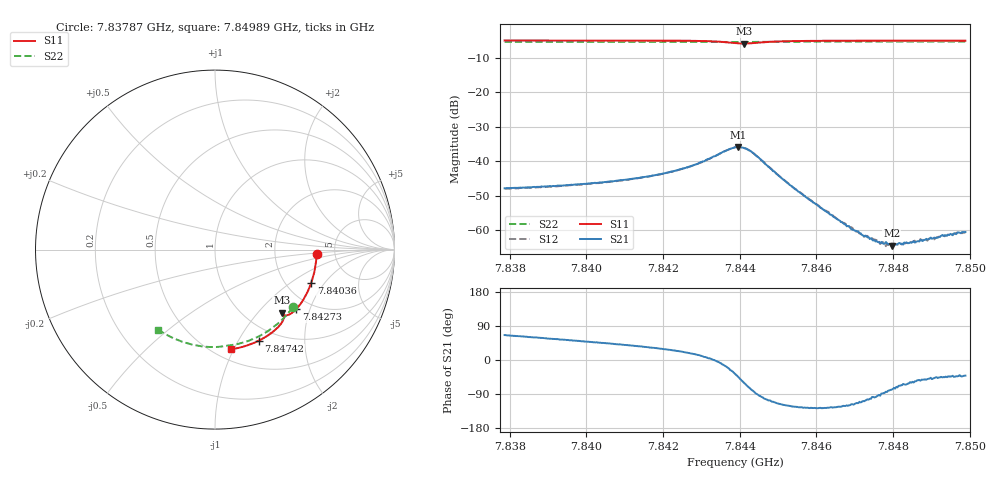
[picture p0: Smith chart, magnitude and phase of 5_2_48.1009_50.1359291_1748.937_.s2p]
#  HZ  S  RI  R  50.00
! Rohde & Schwarz Vector Network Analyzer
! Rohde-Schwarz,ZNB20-2Port,1311601062101988,3.16
! Created: UTC 12/23/2023, 3:35:05 AM
! freq[Hz]  re:S11  im:S11  re:S21  im:S21  re:S12  im:S12  re:S22  im:S22
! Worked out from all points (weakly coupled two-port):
!   401 points, 7.83787 GHz to 7.84989 GHz, reference 50 ohm
!   highest |S21| = -35.80 dB at 7.84397 GHz (marker M1); lowest = -64.5 dB at 7.84796 GHz (marker M2)
!   lowest |S11| = -5.8 dB at 7.84412 GHz (marker M3), VSWR 3.09, Z = 71.4 - j67.8 ohm
!   |S11| at or under -10 dB: nowhere
!   |S22| runs from -5.4 to -5.3 dB; largest |S21 - S12| = 0.00033
!   S11 on the Smith chart (normalised r, x): 7.83787 GHz: 3.60, -0.24; 7.84036 GHz: 2.71, -1.49; 7.84273 GHz: 1.67, -1.62; 7.84742 GHz: 0.83, -1.23; 7.84989 GHz: 0.60, -0.97
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7.837866e9  0.5664 -0.0231  0.00167 0.0037  0.00169 0.00366  0.4339 -0.3215
7.83988e9  0.5454 -0.1556  0.00304 0.00354  0.00299 0.00349  0.3366 -0.4231
7.84036e9  0.5355 -0.1866  0.00347 0.00354  0.00342 0.00349  0.3097 -0.4436
7.841893e9  0.4901 -0.282  0.00557 0.00326  0.00553 0.00328  0.2163 -0.4965
7.842734e9  0.4527 -0.3317  0.00818 0.00257  0.00814 0.00256  0.1607 -0.5173
7.843425e9  0.407 -0.3643  0.0124 -0.000991  0.0124 -0.000879  0.1134 -0.5286
7.843876e9  0.373 -0.3609  0.0129 -0.00947  0.0129 -0.00952  0.0831 -0.5326
7.843966e9  0.3705 -0.3564  0.0114 -0.0115  0.0113 -0.0112  0.0774 -0.5332
7.844117e9  0.372 -0.3507  0.0076 -0.0136  0.00777 -0.0135  0.0681 -0.5347
7.844327e9  0.3804 -0.353  0.00237 -0.0133  0.00239 -0.0132  0.0548 -0.5372
7.845078e9  0.3738 -0.4047  -0.00262 -0.00515  -0.0026 -0.0052  0.00267 -0.5427
7.845889e9  0.3338 -0.4491  -0.00156 -0.00211  -0.00157 -0.0021  -0.0548 -0.5409
7.846941e9  0.2738 -0.4913  -0.000461 -0.000911  -0.000507 -0.000952  -0.1278 -0.5292
7.847422e9  0.2449 -0.5067  -0.000166 -0.00075  -0.00016 -0.000716  -0.1604 -0.5206
7.847512e9  0.2394 -0.5095  -0.000109 -0.000713  -8.76e-05 -0.00073  -0.1666 -0.5187
7.847662e9  0.2302 -0.5138  -4.83e-05 -0.000647  2.65e-05 -0.000631  -0.1766 -0.5154
7.847903e9  0.2152 -0.5201  0.000108 -0.000623  9.49e-05 -0.000634  -0.1926 -0.51
7.847963e9  0.2114 -0.5218  0.000123 -0.000583  0.000113 -0.000632  -0.1966 -0.5084
7.848233e9  0.1946 -0.5285  0.000258 -0.000589  0.000254 -0.000571  -0.214 -0.5013
7.848624e9  0.1698 -0.5368  0.000409 -0.000556  0.0004 -0.000558  -0.239 -0.4902
7.849645e9  0.1037 -0.5532  0.000641 -0.000601  0.000667 -0.000618  -0.3015 -0.4551
7.849886e9  0.0877 -0.5559  0.000709 -0.000623  0.000709 -0.000601  -0.3157 -0.4456
